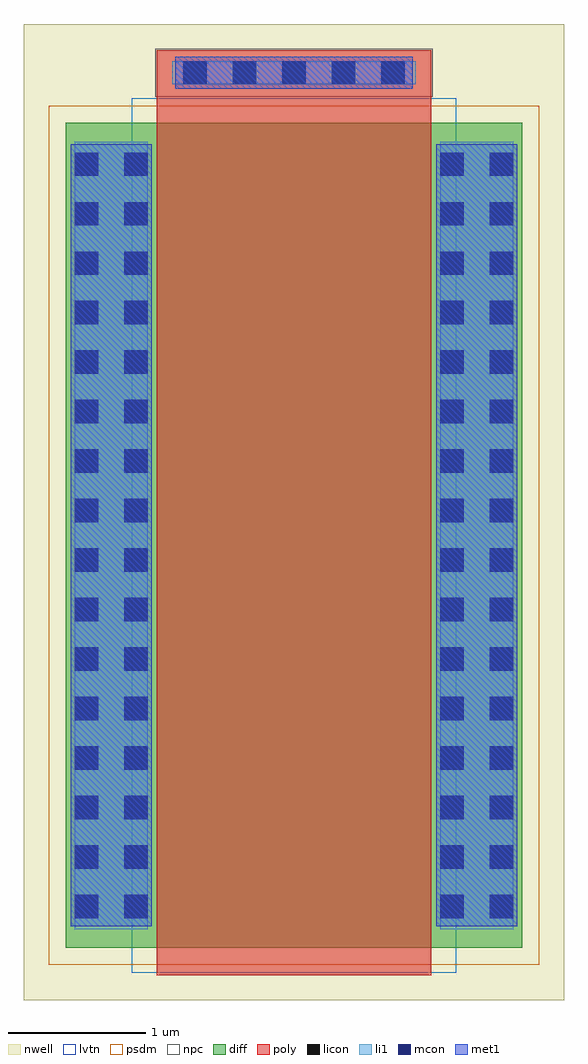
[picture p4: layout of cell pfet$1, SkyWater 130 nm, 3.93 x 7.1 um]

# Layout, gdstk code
import gdstk
lib = gdstk.Library(unit=1e-6, precision=5e-09)
def R(c, l, rs):  # rectangles x0, y0, x1, y1
    for r in rs: c.add(gdstk.rectangle(r[:2], r[2:], *l))
def A(c, l, x, y, w, h, nx, ny, dx, dy):  # array of equal rectangles
    R(c, l, [(x+i*dx, y+j*dy, x+i*dx+w, y+j*dy+h) for i in range(nx) for j in range(ny)])
nwell = (64, 20)
diff = (65, 20)
poly = (66, 20)
licon = (66, 44)
li1 = (67, 20)
mcon = (67, 44)
met1 = (68, 20)
psdm = (94, 20)
npc = (95, 20)
lvtn = (125, 44)

pfet_1 = lib.new_cell('pfet$1')
R(pfet_1, nwell, [(-0.305,-0.38,3.625,6.72)])
R(pfet_1, diff, [(0,0,3.32,6)])
R(pfet_1, poly, [(0.66,-0.2,2.66,6.2), (0.66,6.2,2.66,6.53)])
A(pfet_1, licon, 0.065, 0.215, 0.17, 0.17, 1, 16, 0, 0.36)
A(pfet_1, licon, 0.425, 0.215, 0.17, 0.17, 1, 16, 0, 0.36)
A(pfet_1, licon, 2.725, 0.215, 0.17, 0.17, 1, 16, 0, 0.36)
A(pfet_1, licon, 3.085, 0.215, 0.17, 0.17, 1, 16, 0, 0.36)
A(pfet_1, licon, 0.855, 6.28, 0.17, 0.17, 5, 1, 0.36, 0)
R(pfet_1, li1, [(0.065,0.135,0.595,5.865), (2.725,0.135,3.255,5.865), (0.775,6.28,2.545,6.45)])
A(pfet_1, mcon, 0.065, 0.215, 0.17, 0.17, 1, 16, 0, 0.36)
A(pfet_1, mcon, 0.425, 0.215, 0.17, 0.17, 1, 16, 0, 0.36)
A(pfet_1, mcon, 2.725, 0.215, 0.17, 0.17, 1, 16, 0, 0.36)
A(pfet_1, mcon, 3.085, 0.215, 0.17, 0.17, 1, 16, 0, 0.36)
A(pfet_1, mcon, 0.855, 6.28, 0.17, 0.17, 5, 1, 0.36, 0)
R(pfet_1, met1, [(0.035,0.155,0.625,5.845), (2.695,0.155,3.285,5.845), (0.795,6.25,2.525,6.48)])
R(pfet_1, psdm, [(-0.125,-0.125,3.445,6.125)])
R(pfet_1, npc, [(0.65,6.19,2.67,6.54)])
R(pfet_1, lvtn, [(0.48,-0.18,2.84,6.18)])

lib.write_gds('pfet_1.gds')
